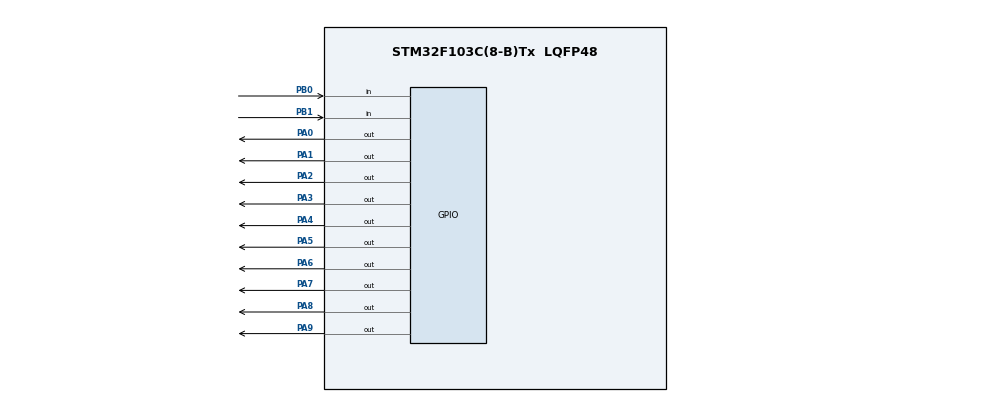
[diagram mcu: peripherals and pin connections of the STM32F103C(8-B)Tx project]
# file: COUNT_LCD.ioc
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Mcu.Family=STM32F1
Mcu.Name=STM32F103C(8-B)Tx
Mcu.Package=LQFP48
NVIC.PriorityGroup=NVIC_PRIORITYGROUP_4
PA0-WKUP.Signal=GPIO_Output
PA1.Signal=GPIO_Output
PA2.Signal=GPIO_Output
PA3.Signal=GPIO_Output
PA4.Signal=GPIO_Output
PA5.Signal=GPIO_Output
PA6.Signal=GPIO_Output
PA7.Signal=GPIO_Output
PA8.Signal=GPIO_Output
PA9.Signal=GPIO_Output
PB0.Signal=GPIO_Input
PB1.Signal=GPIO_Input
ProjectManager.HeapSize=0x200
ProjectManager.StackSize=0x400
ProjectManager.TargetToolchain=STM32CubeIDE
RCC.APB1Freq_Value=8000000
RCC.APB2Freq_Value=8000000
board=custom

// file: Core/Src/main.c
/* USER CODE BEGIN Header */
/**
  ******************************************************************************
  * @file           : main.c
  * @brief          : Main program body
  ******************************************************************************
  * @attention
  *
  * Copyright (c) 2024 STMicroelectronics.
  * All rights reserved.
  *
  * This software is licensed under terms that can be found in the LICENSE file
  * in the root directory of this software component.
  * If no LICENSE file comes with this software, it is provided AS-IS.
  *
  ******************************************************************************
  */
/* USER CODE END Header */
#include "main.h"

void SystemClock_Config(void);
static void MX_GPIO_Init(void);

GPIO_TypeDef  *lcdPort;
uint16_t      lcdRSPin;
uint16_t      lcdENPin;
uint16_t      lcdDataPin[8];
void lcdSetup(GPIO_TypeDef *Port, uint16_t RS, uint16_t EN, uint16_t DO, uint16_t D1,uint16_t D2,uint16_t D3,uint16_t D4,uint16_t D5,uint16_t D6,uint16_t D7 );
void lcdEnable(void);
void lcdWrite(uint8_t data);
void lcdCommand(uint8_t command);
void lcdinit();
void lcdPrint(uint8_t ch);

int main(void)
{

  /* MCU Configuration--------------------------------------------------------*/

  /* Reset of all peripherals, Initializes the Flash interface and the Systick. */
  HAL_Init();

  /* Configure the system clock */
  SystemClock_Config();

  /* Initialize all configured peripherals */
  MX_GPIO_Init();

  /* Infinite loop */
  /* USER CODE BEGIN WHILE */

  int a = 0;
  lcdSetup(GPIOA, GPIO_PIN_8, GPIO_PIN_9, GPIO_PIN_0, GPIO_PIN_1, GPIO_PIN_2, GPIO_PIN_3, GPIO_PIN_4, GPIO_PIN_5, GPIO_PIN_6, GPIO_PIN_7);
  lcdinit();
  lcdPrint(a+48);

  while (1)
  {
	  lcdCommand(0X02);

	  int lastbtn = HAL_GPIO_ReadPin(GPIOB, GPIO_PIN_0);
	  int lastbtn1 = HAL_GPIO_ReadPin(GPIOB, GPIO_PIN_1);

	  if(lastbtn == GPIO_PIN_SET){
		  a++;

		  lcdPrint(a+48);

		  HAL_Delay(500);
	  }
	  else if(lastbtn1 == GPIO_PIN_SET){
	  		  a--;

	  		  lcdPrint(a+48);

	  		  HAL_Delay(500);
	  	  }
    /* USER CODE END WHILE */

  }
}

void lcdSetup(GPIO_TypeDef *Port, uint16_t RS, uint16_t EN, uint16_t DO, uint16_t D1,uint16_t D2,uint16_t D3,uint16_t D4,uint16_t D5,uint16_t D6,uint16_t D7 ){

	lcdPort = Port;
	lcdRSPin = RS;
	lcdENPin = EN;
	lcdDataPin[0]=DO;
	lcdDataPin[1]=D1;
	lcdDataPin[2]=D2;
	lcdDataPin[3]=D3;
	lcdDataPin[4]=D4;
	lcdDataPin[5]=D5;
	lcdDataPin[6]=D6;
	lcdDataPin[7]=D7;

}
void lcdEnable(){
	HAL_GPIO_WritePin(lcdPort, lcdENPin, GPIO_PIN_SET);
	HAL_Delay(1);
	HAL_GPIO_WritePin(lcdPort, lcdENPin, GPIO_PIN_RESET);
}
void lcdWrite(uint8_t data){

	for(int i =0; i <8;i++){

		if(data & (1<<i)){
			HAL_GPIO_WritePin(lcdPort,lcdDataPin[i],GPIO_PIN_SET);
		}
		else{
			HAL_GPIO_WritePin(lcdPort,lcdDataPin[i],GPIO_PIN_RESET);
		}
	}
	lcdEnable();
}
void lcdCommand(uint8_t command){
	HAL_GPIO_WritePin(lcdPort,lcdRSPin,GPIO_PIN_RESET);
	lcdWrite(command);
}
void lcdinit(){
	lcdCommand(0X30);HAL_Delay(10);
	lcdCommand(0X0E);HAL_Delay(10);

}
void lcdPrint(uint8_t ch){
	HAL_GPIO_WritePin(lcdPort,lcdRSPin, GPIO_PIN_SET);
	lcdWrite(ch);
}

void SystemClock_Config(void)
{
  RCC_OscInitTypeDef RCC_OscInitStruct = {0};
  RCC_ClkInitTypeDef RCC_ClkInitStruct = {0};

  /** Initializes the RCC Oscillators according to the specified parameters
  * in the RCC_OscInitTypeDef structure.
  */
  RCC_OscInitStruct.OscillatorType = RCC_OSCILLATORTYPE_HSI;
  RCC_OscInitStruct.HSIState = RCC_HSI_ON;
  RCC_OscInitStruct.HSICalibrationValue = RCC_HSICALIBRATION_DEFAULT;
  RCC_OscInitStruct.PLL.PLLState = RCC_PLL_NONE;
  if (HAL_RCC_OscConfig(&RCC_OscInitStruct) != HAL_OK)
  {
    Error_Handler();
  }

  /** Initializes the CPU, AHB and APB buses clocks
  */
  RCC_ClkInitStruct.ClockType = RCC_CLOCKTYPE_HCLK|RCC_CLOCKTYPE_SYSCLK
                              |RCC_CLOCKTYPE_PCLK1|RCC_CLOCKTYPE_PCLK2;
  RCC_ClkInitStruct.SYSCLKSource = RCC_SYSCLKSOURCE_HSI;
  RCC_ClkInitStruct.AHBCLKDivider = RCC_SYSCLK_DIV1;
  RCC_ClkInitStruct.APB1CLKDivider = RCC_HCLK_DIV1;
  RCC_ClkInitStruct.APB2CLKDivider = RCC_HCLK_DIV1;

  if (HAL_RCC_ClockConfig(&RCC_ClkInitStruct, FLASH_LATENCY_0) != HAL_OK)
  {
    Error_Handler();
  }
}

static void MX_GPIO_Init(void)
{
  GPIO_InitTypeDef GPIO_InitStruct = {0};

  /* GPIO Ports Clock Enable */
  __HAL_RCC_GPIOA_CLK_ENABLE();
  __HAL_RCC_GPIOB_CLK_ENABLE();

  /*Configure GPIO pin Output Level */
  HAL_GPIO_WritePin(GPIOA, GPIO_PIN_0|GPIO_PIN_1|GPIO_PIN_2|GPIO_PIN_3
                          |GPIO_PIN_4|GPIO_PIN_5|GPIO_PIN_6|GPIO_PIN_7
                          |GPIO_PIN_8|GPIO_PIN_9, GPIO_PIN_RESET);

  /*Configure GPIO pins : PA0 PA1 PA2 PA3
                           PA4 PA5 PA6 PA7
                           PA8 PA9 */
  GPIO_InitStruct.Pin = GPIO_PIN_0|GPIO_PIN_1|GPIO_PIN_2|GPIO_PIN_3
                          |GPIO_PIN_4|GPIO_PIN_5|GPIO_PIN_6|GPIO_PIN_7
                          |GPIO_PIN_8|GPIO_PIN_9;
  GPIO_InitStruct.Mode = GPIO_MODE_OUTPUT_PP;
  GPIO_InitStruct.Pull = GPIO_NOPULL;
  GPIO_InitStruct.Speed = GPIO_SPEED_FREQ_LOW;
  HAL_GPIO_Init(GPIOA, &GPIO_InitStruct);

  /*Configure GPIO pins : PB0 PB1 */
  GPIO_InitStruct.Pin = GPIO_PIN_0|GPIO_PIN_1;
  GPIO_InitStruct.Mode = GPIO_MODE_INPUT;
  GPIO_InitStruct.Pull = GPIO_NOPULL;
  HAL_GPIO_Init(GPIOB, &GPIO_InitStruct);

}

void Error_Handler(void)
{
  __disable_irq();
  while (1)
  {
  }
}
